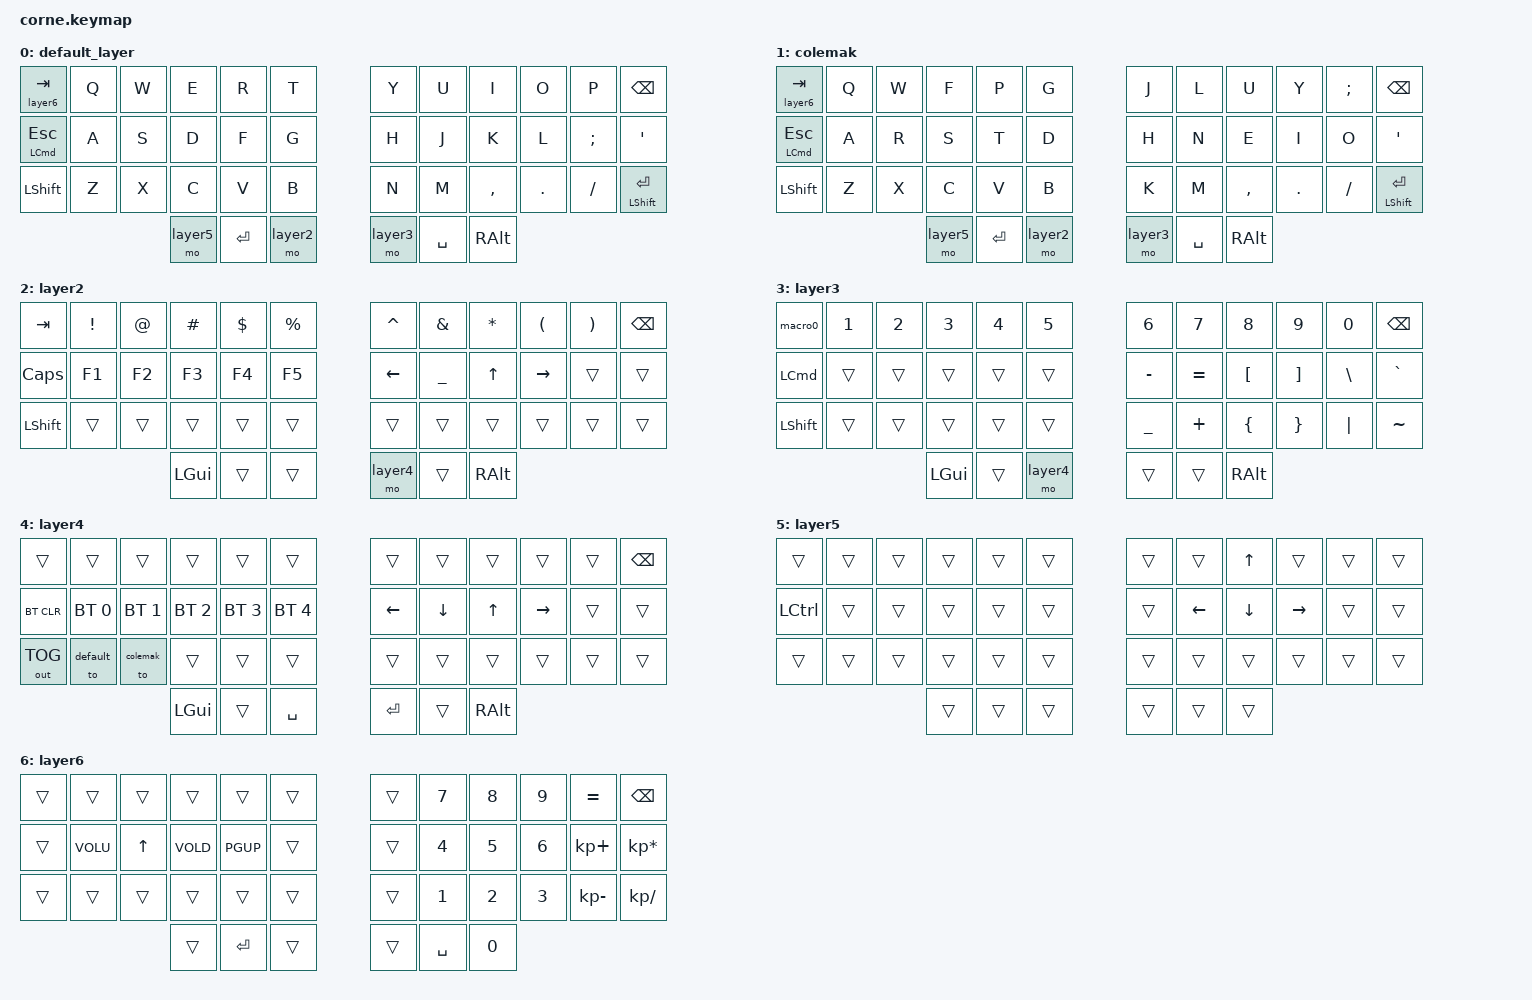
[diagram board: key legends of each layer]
/*
 * Copyright (c) 2020 The ZMK Contributors
 *
 * SPDX-License-Identifier: MIT
 */

#include <behaviors.dtsi>
#include <dt-bindings/zmk/keys.h>
#include <dt-bindings/zmk/bt.h>
#include <dt-bindings/zmk/outputs.h>
#include "macros.dtsi"

#define default 0
#define colemak 1
#define layer2 2
#define layer3 3
#define layer4 4
#define layer5 5
#define layer6 6

/ {
        keymap {
                compatible = "zmk,keymap";

                default_layer {
                        bindings = <
        &lt layer6 TAB   &kp Q          &kp W           &kp E           &kp R           &kp T                   &kp Y           &kp U           &kp I           &kp O           &kp P           &kp BSPC
        &mt LCMD ESC      &kp A          &kp S           &kp D           &kp F           &kp G                   &kp H           &kp J           &kp K           &kp L           &kp SEMI        &kp SQT
        &kp LSHFT        &kp Z          &kp X           &kp C           &kp V           &kp B                   &kp N           &kp M           &kp COMMA       &kp DOT         &kp FSLH        &mt LSHFT RET
                                                        &mo layer5      &kp RET         &mo layer2              &mo layer3      &kp SPACE       &kp RALT
                        >;
                };
                colemak {
                        bindings = <
        &lt layer6 TAB   &kp Q          &kp W           &kp F           &kp P           &kp G                   &kp J           &kp L           &kp U           &kp Y           &kp SCLN        &kp BSPC
        &mt LCMD ESC     &kp A          &kp R           &kp S           &kp T           &kp D                   &kp H           &kp N           &kp E           &kp I           &kp O           &kp QUOT
        &kp LSHFT        &kp Z          &kp X           &kp C           &kp V           &kp B                   &kp K           &kp M           &kp COMMA       &kp DOT         &kp FSLH        &mt LSHFT RET
                                                        &mo layer5      &kp RET         &mo layer2              &mo layer3      &kp SPACE       &kp RALT
                        >;
                };

                layer2 {
                        bindings = <
        &kp  TAB        &kp EXCL        &kp AT          &kp HASH        &kp DLLR        &kp PRCNT               &kp CARET       &kp AMPS        &kp STAR        &kp LPAR        &kp RPAR        &kp BSPC       
        &kp CAPS        &kp F1          &kp F2          &kp F3          &kp F4          &kp F5                  &kp LEFT        &kp UNDER       &kp UP          &kp RIGHT       &trans          &trans
        &kp LSHFT       &trans          &trans          &trans          &trans          &trans                  &trans          &trans          &trans          &trans          &trans          &trans
                                                        &kp LGUI        &trans          &trans                  &mo layer4      &trans          &kp RALT
                        >;
                };

                layer3 {
// -----------------------------------------------------------------------------------------
// Colocar descripción
                        bindings = <
        &macro0         &kp N1          &kp N2          &kp N3          &kp N4          &kp N5                  &kp N6          &kp N7          &kp N8          &kp N9          &kp N0          &kp BSPC
        &kp LCMD        &trans          &trans          &trans          &trans          &trans                  &kp MINUS       &kp EQUAL       &kp LBKT        &kp RBKT        &kp BSLH        &kp GRAVE
        &kp LSHFT       &trans          &trans          &trans          &trans          &trans                  &kp UNDER       &kp PLUS        &kp LBRC        &kp RBRC        &kp PIPE        &kp TILDE
                                                        &kp LGUI        &trans          &mo layer4              &trans          &trans          &kp RALT
                        >;
                };

                layer4 {
// -----------------------------------------------------------------------------------------
// Adjust Layer
                        bindings = <
        &trans          &trans          &trans          &trans          &trans          &trans                  &trans          &trans          &trans          &trans          &trans          &kp BSPC
        &bt BT_CLR      &bt BT_SEL 0    &bt BT_SEL 1    &bt BT_SEL 2    &bt BT_SEL 3    &bt BT_SEL 4            &kp LEFT        &kp DOWN        &kp UP          &kp RIGHT       &trans          &trans
        &out OUT_TOG    &to default     &to colemak     &trans          &trans          &trans                  &trans          &trans          &trans          &trans          &trans          &trans
                                                        &kp LGUI        &trans          &kp SPACE               &kp RET         &trans          &kp RALT
                        >;
                };

                layer5 {
// -----------------------------------------------------------------------------------------
// RGB and Misc Layer
                        bindings = <
        &trans          &trans          &trans          &trans          &trans          &trans                  &trans          &trans          &kp UP          &trans          &trans          &trans
        &kp LCTRL       &trans          &trans          &trans          &trans          &trans                  &trans          &kp LEFT        &kp DOWN        &kp RIGHT       &trans          &trans
        &trans          &trans          &trans          &trans          &trans          &trans                  &trans          &trans          &trans          &trans          &trans          &trans
                                                        &trans          &trans          &trans                  &trans          &trans          &trans
                        >;
                };

                layer6 {
// -----------------------------------------------------------------------------------------
// Numpad and Media Layer
                        bindings = <
        &trans          &trans          &trans          &trans          &trans          &trans                  &trans          &kp N7          &kp N8          &kp N9          &kp EQUAL       &kp BSPC
        &trans          &kp VOLU        &kp UP          &kp VOLD        &kp PGUP        &trans                  &trans          &kp N4          &kp N5          &kp N6          &kp KP_PLUS        &kp KP_MULTIPLY
        &trans          &trans          &trans          &trans          &trans          &trans                  &trans          &kp N1          &kp N2          &kp N3          &kp KP_MINUS       &kp KP_SLASH
                                                        &trans          &kp RET          &trans                  &trans         &kp SPACE       &kp N0
                        >;
                };
        };
};
